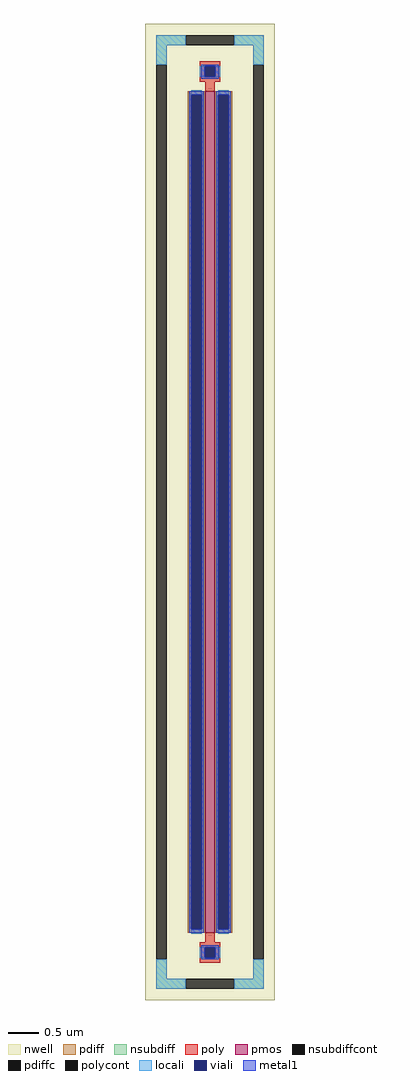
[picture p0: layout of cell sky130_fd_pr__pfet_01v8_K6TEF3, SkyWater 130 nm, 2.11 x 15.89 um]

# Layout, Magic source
magic
tech sky130A
magscale 1 2
<< nwell >>
rect -211 -1589 211 1589
<< pmos >>
rect -15 -1370 15 1370
<< pdiff >>
rect -73 1358 -15 1370
rect -73 -1358 -61 1358
rect -27 -1358 -15 1358
rect -73 -1370 -15 -1358
rect 15 1358 73 1370
rect 15 -1358 27 1358
rect 61 -1358 73 1358
rect 15 -1370 73 -1358
<< pdiffc >>
rect -61 -1358 -27 1358
rect 27 -1358 61 1358
<< nsubdiff >>
rect -175 1519 -79 1553
rect 79 1519 175 1553
rect -175 1457 -141 1519
rect 141 1457 175 1519
rect -175 -1519 -141 -1457
rect 141 -1519 175 -1457
rect -175 -1553 -79 -1519
rect 79 -1553 175 -1519
<< nsubdiffcont >>
rect -79 1519 79 1553
rect -175 -1457 -141 1457
rect 141 -1457 175 1457
rect -79 -1553 79 -1519
<< poly >>
rect -33 1451 33 1467
rect -33 1417 -17 1451
rect 17 1417 33 1451
rect -33 1401 33 1417
rect -15 1370 15 1401
rect -15 -1401 15 -1370
rect -33 -1417 33 -1401
rect -33 -1451 -17 -1417
rect 17 -1451 33 -1417
rect -33 -1467 33 -1451
<< polycont >>
rect -17 1417 17 1451
rect -17 -1451 17 -1417
<< locali >>
rect -175 1519 -79 1553
rect 79 1519 175 1553
rect -175 1457 -141 1519
rect 141 1457 175 1519
rect -33 1417 -17 1451
rect 17 1417 33 1451
rect -61 1358 -27 1374
rect -61 -1374 -27 -1358
rect 27 1358 61 1374
rect 27 -1374 61 -1358
rect -33 -1451 -17 -1417
rect 17 -1451 33 -1417
rect -175 -1519 -141 -1457
rect 141 -1519 175 -1457
rect -175 -1553 -79 -1519
rect 79 -1553 175 -1519
<< viali >>
rect -17 1417 17 1451
rect -61 -1358 -27 1358
rect 27 -1358 61 1358
rect -17 -1451 17 -1417
<< metal1 >>
rect -29 1451 29 1457
rect -29 1417 -17 1451
rect 17 1417 29 1451
rect -29 1411 29 1417
rect -67 1358 -21 1370
rect -67 -1358 -61 1358
rect -27 -1358 -21 1358
rect -67 -1370 -21 -1358
rect 21 1358 67 1370
rect 21 -1358 27 1358
rect 61 -1358 67 1358
rect 21 -1370 67 -1358
rect -29 -1417 29 -1411
rect -29 -1451 -17 -1417
rect 17 -1451 29 -1417
rect -29 -1457 29 -1451
<< properties >>
string FIXED_BBOX -158 -1536 158 1536
string gencell sky130_fd_pr__pfet_01v8
string library sky130
string parameters w 13.7 l 0.15 m 1 nf 1 diffcov 100 polycov 100 guard 1 glc 1 grc 1 gtc 1 gbc 1 tbcov 100 rlcov 100 topc 1 botc 1 poverlap 0 doverlap 1 lmin 0.15 wmin 0.42 compatible {sky130_fd_pr__pfet_01v8  sky130_fd_pr__pfet_01v8_lvt sky130_fd_pr__pfet_01v8_hvt  sky130_fd_pr__pfet_g5v0d10v5} full_metal 1 viasrc 100 viadrn 100 viagate 100 viagb 0 viagr 0 viagl 0 viagt 0
<< end >>
